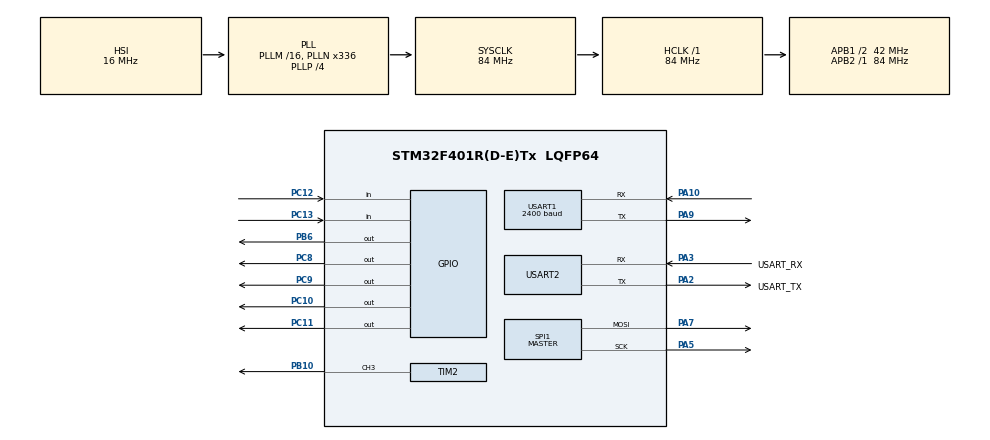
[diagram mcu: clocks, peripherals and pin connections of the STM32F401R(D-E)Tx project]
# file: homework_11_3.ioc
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Dma.Request0=SPI1_TX
Dma.SPI1_TX.0.Direction=DMA_MEMORY_TO_PERIPH
Dma.SPI1_TX.0.FIFOMode=DMA_FIFOMODE_DISABLE
Dma.SPI1_TX.0.Instance=DMA2_Stream3
Dma.SPI1_TX.0.MemDataAlignment=DMA_MDATAALIGN_BYTE
Dma.SPI1_TX.0.MemInc=DMA_MINC_ENABLE
Dma.SPI1_TX.0.Mode=DMA_NORMAL
Dma.SPI1_TX.0.PeriphDataAlignment=DMA_PDATAALIGN_BYTE
Dma.SPI1_TX.0.PeriphInc=DMA_PINC_DISABLE
Dma.SPI1_TX.0.Priority=DMA_PRIORITY_LOW
Mcu.Family=STM32F4
Mcu.Name=STM32F401R(D-E)Tx
Mcu.Package=LQFP64
NVIC.DMA2_Stream3_IRQn=true\:0\:0\:false\:false\:true\:false\:true\:true
NVIC.PriorityGroup=NVIC_PRIORITYGROUP_1
NVIC.TIM1_BRK_TIM9_IRQn=true\:0\:0\:false\:false\:true\:true\:true\:true
NVIC.TIM1_TRG_COM_TIM11_IRQn=true\:1\:0\:true\:false\:true\:true\:true\:true
NVIC.TIM1_UP_TIM10_IRQn=true\:0\:0\:true\:false\:true\:true\:true\:true
NVIC.USART1_IRQn=true\:0\:0\:false\:false\:true\:true\:true\:true
PA10.Mode=Asynchronous
PA10.Signal=USART1_RX
PA13.GPIO_Label=TMS
PA13.Mode=Serial_Wire
PA13.Signal=SYS_JTMS-SWDIO
PA14.GPIO_Label=TCK
PA14.Mode=Serial_Wire
PA14.Signal=SYS_JTCK-SWCLK
PA2.GPIO_Label=USART_TX
PA2.GPIO_Mode=GPIO_MODE_AF_PP
PA2.GPIO_PuPd=GPIO_NOPULL
PA2.GPIO_Speed=GPIO_SPEED_FREQ_LOW
PA2.Mode=Asynchronous
PA2.Signal=USART2_TX
PA3.GPIO_Label=USART_RX
PA3.GPIO_Mode=GPIO_MODE_AF_PP
PA3.GPIO_PuPd=GPIO_NOPULL
PA3.GPIO_Speed=GPIO_SPEED_FREQ_LOW
PA3.Mode=Asynchronous
PA3.Signal=USART2_RX
PA5.Mode=TX_Only_Simplex_Unidirect_Master
PA5.Signal=SPI1_SCK
PA7.Mode=TX_Only_Simplex_Unidirect_Master
PA7.Signal=SPI1_MOSI
PA9.Mode=Asynchronous
PA9.Signal=USART1_TX
PB10.Signal=S_TIM2_CH3
PB3.GPIO_Label=SWO
PB3.Signal=SYS_JTDO-SWO
PB6.Signal=GPIO_Output
PC10.Signal=GPIO_Output
PC11.Signal=GPIO_Output
PC12.Signal=GPIO_Input
PC13-ANTI_TAMP.Signal=GPIO_Input
PC14-OSC32_IN.Mode=LSE-External-Oscillator
PC14-OSC32_IN.Signal=RCC_OSC32_IN
PC15-OSC32_OUT.Mode=LSE-External-Oscillator
PC15-OSC32_OUT.Signal=RCC_OSC32_OUT
PC8.Signal=GPIO_Output
PC9.Signal=GPIO_Output
PH0\ -\ OSC_IN.Mode=HSE-External-Clock-Source
PH0\ -\ OSC_IN.Signal=RCC_OSC_IN
PH1\ -\ OSC_OUT.Mode=HSE-External-Clock-Source
PH1\ -\ OSC_OUT.Signal=RCC_OSC_OUT
ProjectManager.HeapSize=0x200
ProjectManager.StackSize=0x400
ProjectManager.TargetToolchain=STM32CubeIDE
RCC.48MHZClocksFreq_Value=48000000
RCC.AHBFreq_Value=84000000
RCC.APB1CLKDivider=RCC_HCLK_DIV2
RCC.APB1Freq_Value=42000000
RCC.APB1TimFreq_Value=84000000
RCC.APB2Freq_Value=84000000
RCC.APB2TimFreq_Value=84000000
RCC.CortexFreq_Value=84000000
RCC.HCLKFreq_Value=84000000
RCC.HSE_VALUE=8000000
RCC.HSI_VALUE=16000000
RCC.PLLN=336
RCC.PLLP=RCC_PLLP_DIV4
RCC.PLLQ=7
RCC.SYSCLKFreq_VALUE=84000000
RCC.SYSCLKSource=RCC_SYSCLKSOURCE_PLLCLK
RCC.VCOOutputFreq_Value=336000000
SH.S_TIM2_CH3.0=TIM2_CH3,PWM Generation3 CH3
SPI1.BaudRatePrescaler=SPI_BAUDRATEPRESCALER_4
SPI1.Direction=SPI_DIRECTION_2LINES
SPI1.Mode=SPI_MODE_MASTER
SPI1.VirtualType=VM_MASTER
TIM10.Period=35000-1
TIM11.Period=42000-1
TIM11.Prescaler=100-1
TIM2.Channel-PWM\ Generation3\ CH3=TIM_CHANNEL_3
TIM2.Period=2210-1
TIM2.Pulse-PWM\ Generation3\ CH3=1105-1
TIM9.Period=84-1
TIM9.Prescaler=4000-1
USART1.BaudRate=2400
USART1.Mode=MODE_RX
USART1.VirtualMode=VM_ASYNC
USART2.VirtualMode=VM_ASYNC
VP_TIM10_VS_ClockSourceINT.Mode=Enable_Timer
VP_TIM11_VS_ClockSourceINT.Mode=Enable_Timer
VP_TIM9_VS_ClockSourceINT.Mode=Internal
board=NUCLEO-F401RE

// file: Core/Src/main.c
/* USER CODE BEGIN Header */
/**
  ******************************************************************************
  * @file           : main.c
  * @brief          : Main program body
  ******************************************************************************
  * @attention
  *
  * Copyright (c) 2022 STMicroelectronics.
  * All rights reserved.
  *
  * This software is licensed under terms that can be found in the LICENSE file
  * in the root directory of this software component.
  * If no LICENSE file comes with this software, it is provided AS-IS.
  *
  ******************************************************************************
  */
/* USER CODE END Header */
#include "main.h"

/* USER CODE BEGIN PTD */
typedef enum {true, false} bool;
/* USER CODE END PTD */

SPI_HandleTypeDef hspi1;
DMA_HandleTypeDef hdma_spi1_tx;

TIM_HandleTypeDef htim2;
TIM_HandleTypeDef htim9;
TIM_HandleTypeDef htim10;
TIM_HandleTypeDef htim11;

UART_HandleTypeDef huart1;
UART_HandleTypeDef huart2;

/* USER CODE BEGIN PV */

//----------------------BUTTON-MATRIX-RELATED VARIABLES-----------------------//
bool STARTUP_OVERFLOW_TIM11 = true;
uint16_t KEYB_R[4] = {GPIO_PIN_12, GPIO_PIN_13, GPIO_PIN_2, GPIO_PIN_3};
uint16_t KEYB_C[4] = {GPIO_PIN_8, GPIO_PIN_9, GPIO_PIN_10, GPIO_PIN_11};

int j = 0;                            //moving column index for buttons scan

int START_COUNT[4][4]={
  {0, 0, 0, 0},
  {0, 0, 0, 0},
  {0, 0, 0, 0},
  {0, 0, 0, 0}
};

int ALREADY_PRINTED[4][4]={
  {0, 0, 0, 0},
  {0, 0, 0, 0},
  {0, 0, 0, 0},
  {0, 0, 0, 0}
};

int MILLIS_OF_PRESS[4][4]={
  {0, 0, 0, 0},
  {0, 0, 0, 0},
  {0, 0, 0, 0},
  {0, 0, 0, 0}
};

char CHAR_MATRIX[4][4]={
  {'0', '1', '2', '3'},
  {'4', '5', '6', '7'},
  {'8', '9', 'A', 'B'},
  {'C', 'D', 'E', 'F'}
};
//----------------------------------------------------------------------------//

//------------------------LED-MATRIX-RELATED VARIABLES------------------------//
bool STARTUP_OVERFLOW_TIM9 = true;

// Output pin for the SS
#define RCLK_PIN GPIOB, GPIO_PIN_6
// Data, which should be received
char RX_data = 0;
// Storing the data
char command = 0;
// A flag to show if we have received data
uint8_t RX_flag = 0;
// Index, showing which coloumn in the LED to light up
uint8_t index = 0;
// Making sure that the character can be lighten up by the index
uint8_t matrix[5][2] = {{0, 16}, {0, 8}, {0, 4}, {0, 2}, {0, 1}};

// Every possible characters, we want to ligth up with the corresponding data we receive
uint8_t matrix_0[5][2] = {{62, 16}, {113, 8}, {73, 4}, {71, 2}, {62, 1}};
uint8_t matrix_1[5][2] = {{33, 16}, {65, 8}, {127, 4}, {1, 2}, {1, 1}};
uint8_t matrix_2[5][2] = {{35, 16}, {69, 8}, {73, 4}, {81, 2}, {33, 1}};
uint8_t matrix_3[5][2] = {{73, 16}, {73, 8}, {73, 4}, {73, 2}, {54, 1}};
uint8_t matrix_4[5][2] = {{120, 16}, {8, 8}, {8, 4}, {127, 2}, {8, 1}};
uint8_t matrix_5[5][2] = {{121, 16}, {73, 8}, {73, 4}, {73, 2}, {70, 1}};
uint8_t matrix_6[5][2] = {{62, 16}, {73, 8}, {73, 4}, {73, 2}, {70, 1}};
uint8_t matrix_7[5][2] = {{64, 16}, {64, 8}, {67, 4}, {76, 2}, {112, 1}};
uint8_t matrix_8[5][2] = {{54, 16}, {73, 8}, {73, 4}, {73, 2}, {54, 1}};
uint8_t matrix_9[5][2] = {{48, 16}, {72, 8}, {72, 4}, {72, 2}, {127, 1}};
uint8_t matrix_A[5][2] = {{31, 16}, {36, 8}, {68, 4}, {36, 2}, {31, 1}};
uint8_t matrix_B[5][2] = {{127, 16}, {73, 8}, {73, 4}, {73, 2}, {54, 1}};
uint8_t matrix_C[5][2] = {{62, 16}, {65, 8}, {65, 4}, {65, 2}, {34, 1}};
uint8_t matrix_D[5][2] = {{127, 16}, {65, 8}, {65, 4}, {65, 2}, {62, 1}};
uint8_t matrix_E[5][2] = {{127, 16}, {73, 8}, {73, 4}, {73, 2}, {65, 1}};
uint8_t matrix_F[5][2] = {{127, 16}, {72, 8}, {72, 4}, {72, 2}, {64, 1}};

//----------------------------------------------------------------------------//

//-----------------------INFRARED-TX-RELATED VARIABLES------------------------//
bool STARTUP_OVERFLOW_TIM10 = true;
bool INFRARED_BUSY = false;

int B = 0;                            //infrared UART byte index of bit-to-transmit

int complete_byte[9];                 //containing byte to infrared-transmit + stop bit
//----------------------------------------------------------------------------//

//-----------------------INFRARED-RX-RELATED VARIABLES------------------------//
uint8_t IR_byte;                      //infrared received byte
//----------------------------------------------------------------------------//

/* USER CODE END PV */

void SystemClock_Config(void);
static void MX_GPIO_Init(void);
static void MX_DMA_Init(void);
static void MX_USART2_UART_Init(void);
static void MX_TIM2_Init(void);
static void MX_TIM10_Init(void);
static void MX_TIM11_Init(void);
static void MX_USART1_UART_Init(void);
static void MX_SPI1_Init(void);
static void MX_TIM9_Init(void);

/* USER CODE BEGIN 0 */
void HAL_TIM_PeriodElapsedCallback(TIM_HandleTypeDef* calling_timer){
  if(calling_timer==&htim11){       //timer11 (for button matrix scan) set to trigger every 50ms
    timer11_custom_callback();
  }
  if(calling_timer==&htim10){       //timer10 (for TX baudrate) set to trigger every (1/2400)s
    timer10_custom_callback();
  }
  if(calling_timer==&htim9){        //timer9 (for LED matrix lightning) set to trigger every 4ms
    timer9_custom_callback();
  }
}

//-----------------------BUTTON-MATRIX-RELATED FUNCTIONS----------------------//
void timer11_custom_callback(){
  if(STARTUP_OVERFLOW_TIM11==true){
    STARTUP_OVERFLOW_TIM11=false;
  }
  else{
    activate_next_column();           //NOTE: we need to set the Systick interrupt to a higher priority level
    HAL_Delay(10);                    //in order to execute a delay inside another callback (nested interrupt,
                                      //lower preemption --> higher priority). See ioc configuration for details
    //Updating all press times
    for(int Y=0; Y<4; Y++){
      for(int K=0; K<4; K++){
        if(START_COUNT[Y][K]==1){
          MILLIS_OF_PRESS[Y][K]=MILLIS_OF_PRESS[Y][K]+50;
        }
      }
    }

    //Scanning through all rows
    for(int i=0; i<4; i++){
      if(HAL_GPIO_ReadPin(GPIOC, KEYB_R[i])==GPIO_PIN_RESET){
        if(START_COUNT[i][j]==0){
          START_COUNT[i][j]=1;
        }
      }
      else{
        START_COUNT[i][j]=0;
        ALREADY_PRINTED[i][j]=0;
        MILLIS_OF_PRESS[i][j]=0;
      }
    }

    //Moving to the next column
    j++;
    if(j==4){
      j=0;
    }
  }
}

void activate_next_column(){
  //Turn off all columns...
  for(int k=0; k<4; k++){
    HAL_GPIO_WritePin(GPIOC, KEYB_C[k], GPIO_PIN_RESET);
  }
  //...and turn on only the next column
  HAL_GPIO_WritePin(GPIOC, KEYB_C[j], GPIO_PIN_SET);      //remember that "j" is a moving index (and global variable)
}
//----------------------------------------------------------------------------//

//-----------------------INFRARED-TX-RELATED FUNCTIONS------------------------//
void timer10_custom_callback(){
  if(STARTUP_OVERFLOW_TIM10==true){
    STARTUP_OVERFLOW_TIM10=false;
  }
  else{

    if(B<=8){
      if(complete_byte[B]==0){
        HAL_TIM_PWM_Start(&htim2, TIM_CHANNEL_3);
      }
      else if(complete_byte[B]==1){
        HAL_TIM_PWM_Stop(&htim2, TIM_CHANNEL_3);
      }
      B++;
    }

    else{
      B=0;
      HAL_TIM_Base_Stop_IT(&htim10);
      //__HAL_TIM_SET_COUNTER(&htim10, 0);    //for safety, if necessary
      INFRARED_BUSY=false;
    }

  }
}

void infrared_UART_TX(uint8_t byte_to_send){
  if(INFRARED_BUSY==false){
    INFRARED_BUSY=true;

    for(int h=0; h<8; h++){                                           //converting uint8_t into array of single bits
      complete_byte[7-h]=((byte_to_send)&(0b10000000>>h))>>(7-h);     //NOTE: we must invert the bit sequence
    }                                                                 //because it will be received inverted again

    complete_byte[8]=1;                                               //appending stop bit
    HAL_TIM_PWM_Start(&htim2, TIM_CHANNEL_3);                         //transmitting start bit
    HAL_TIM_Base_Start_IT(&htim10);
  }
  else{
    //do nothing, ignore request
  }
}
//----------------------------------------------------------------------------//

//-----------------------INFRARED-RX-RELATED FUNCTIONS------------------------//
void HAL_UART_RxCpltCallback (UART_HandleTypeDef *huart) {
	// We receive the data, that the other group have transmitted
	HAL_UART_Receive_IT(&huart1, &RX_data, sizeof(RX_data));
	command = RX_data;
	// We acknowledge that we have received a byte form UART
	RX_flag = 1;
}

void HAL_SPI_TxCpltCallback(SPI_HandleTypeDef* calling_SPI){
	if(calling_SPI == &hspi1){
		// Setting the SS pin
		HAL_GPIO_WritePin(GPIOB, GPIO_PIN_6, GPIO_PIN_SET);
		// Increment the index
		index++;
		// Resetting index for index higher than 4
		if(index > 4){
			index = 0;
		}
		// Resetting the SS pin
		HAL_GPIO_WritePin(GPIOB, GPIO_PIN_6, GPIO_PIN_RESET);
	}
}
//----------------------------------------------------------------------------//

//-----------------------LED-MATRIX-RELATED FUNCTIONS-------------------------//
void timer9_custom_callback(){
  if(STARTUP_OVERFLOW_TIM9==true){
    STARTUP_OVERFLOW_TIM9=false;
  }
  else{
	  // Transmit the letter and column, which should be lighten up every 4 ms
	  HAL_SPI_Transmit_DMA(&hspi1, matrix[index], 2);
  }
}
//----------------------------------------------------------------------------//

/* USER CODE END 0 */

int main(void)
{

  /* MCU Configuration--------------------------------------------------------*/

  /* Reset of all peripherals, Initializes the Flash interface and the Systick. */
  HAL_Init();

  /* Configure the system clock */
  SystemClock_Config();

  /* Initialize all configured peripherals */
  MX_GPIO_Init();
  MX_DMA_Init();
  MX_USART2_UART_Init();
  MX_TIM2_Init();
  MX_TIM10_Init();
  MX_TIM11_Init();
  MX_USART1_UART_Init();
  MX_SPI1_Init();
  MX_TIM9_Init();
  /* USER CODE BEGIN 2 */
  HAL_TIM_Base_Start_IT(&htim11);
  HAL_TIM_Base_Start_IT(&htim9);
  HAL_UART_Receive_IT(&huart1, &RX_data, sizeof(RX_data));
  /* USER CODE END 2 */

  /* Infinite loop */
  /* USER CODE BEGIN WHILE */
  while (1)
  {
    for(int I=0; I<4; I++){
      for(int J=0; J<4; J++){
        if(MILLIS_OF_PRESS[I][J]>=200){                       //pressings shorter than 200ms will be ignored
          if(ALREADY_PRINTED[I][J]==0){
            infrared_UART_TX((uint8_t)(CHAR_MATRIX[I][J]));   //perform transmission
            ALREADY_PRINTED[I][J]=1;
          }
          else{
            //do nothing
          }
        }
      }
    }
    /* USER CODE END WHILE */

    /* USER CODE BEGIN 3 */
    if(RX_flag == 1) {
    		  // The matrix, which should be send to the LED matrix is chosen with the corresponding character
    		  switch(command) {
    		  	  case '0':
    		  		  memcpy(matrix, matrix_0, sizeof(matrix));
    		  		  break;
    		  	  case '1':
    		  		  memcpy(matrix, matrix_1, sizeof(matrix));
    		  		  break;
    		  	  case '2':
    		  		  memcpy(matrix, matrix_2, sizeof(matrix));
    		  		  break;
    		  	  case '3':
    		  		  memcpy(matrix, matrix_3, sizeof(matrix));
    		  		  break;
    		  	  case '4':
    		  		  memcpy(matrix, matrix_4, sizeof(matrix));
    		  		  break;
    		  	  case '5':
    		  		  memcpy(matrix, matrix_5, sizeof(matrix));
    		  		  break;
    		  	  case '6':
    		  		  memcpy(matrix, matrix_6, sizeof(matrix));
    		  		  break;
    		  	  case '7':
    		  		  memcpy(matrix, matrix_7, sizeof(matrix));
    		  		  break;
    		  	  case '8':
    		  		  memcpy(matrix, matrix_8, sizeof(matrix));
    		  		  break;
    		  	  case '9':
    		  		  memcpy(matrix, matrix_9, sizeof(matrix));
    		  		  break;
    		  	  case 'A':
    		  		  memcpy(matrix, matrix_A, sizeof(matrix));
    		  		  break;
    		  	  case 'B':
    		  		  memcpy(matrix, matrix_B, sizeof(matrix));
    		  		  break;
    		  	  case 'C':
    		  		  memcpy(matrix, matrix_C, sizeof(matrix));
    		  		  break;
    		  	  case 'D':
    		  		  memcpy(matrix, matrix_D, sizeof(matrix));
    		  		  break;
    		  	  case 'E':
    		  		  memcpy(matrix, matrix_E, sizeof(matrix));
    		  		  break;
    		  	  case 'F':
    		  		  memcpy(matrix, matrix_F, sizeof(matrix));
    		  		  break;
    		  }
    		  // We reset the ackowledgement of the data
    		  RX_flag = 0;
    	  }
  }
  /* USER CODE END 3 */
}

void SystemClock_Config(void)
{
  RCC_OscInitTypeDef RCC_OscInitStruct = {0};
  RCC_ClkInitTypeDef RCC_ClkInitStruct = {0};

  /** Configure the main internal regulator output voltage
  */
  __HAL_RCC_PWR_CLK_ENABLE();
  __HAL_PWR_VOLTAGESCALING_CONFIG(PWR_REGULATOR_VOLTAGE_SCALE2);

  /** Initializes the RCC Oscillators according to the specified parameters
  * in the RCC_OscInitTypeDef structure.
  */
  RCC_OscInitStruct.OscillatorType = RCC_OSCILLATORTYPE_HSI;
  RCC_OscInitStruct.HSIState = RCC_HSI_ON;
  RCC_OscInitStruct.HSICalibrationValue = RCC_HSICALIBRATION_DEFAULT;
  RCC_OscInitStruct.PLL.PLLState = RCC_PLL_ON;
  RCC_OscInitStruct.PLL.PLLSource = RCC_PLLSOURCE_HSI;
  RCC_OscInitStruct.PLL.PLLM = 16;
  RCC_OscInitStruct.PLL.PLLN = 336;
  RCC_OscInitStruct.PLL.PLLP = RCC_PLLP_DIV4;
  RCC_OscInitStruct.PLL.PLLQ = 7;
  if (HAL_RCC_OscConfig(&RCC_OscInitStruct) != HAL_OK)
  {
    Error_Handler();
  }

  /** Initializes the CPU, AHB and APB buses clocks
  */
  RCC_ClkInitStruct.ClockType = RCC_CLOCKTYPE_HCLK|RCC_CLOCKTYPE_SYSCLK
                              |RCC_CLOCKTYPE_PCLK1|RCC_CLOCKTYPE_PCLK2;
  RCC_ClkInitStruct.SYSCLKSource = RCC_SYSCLKSOURCE_PLLCLK;
  RCC_ClkInitStruct.AHBCLKDivider = RCC_SYSCLK_DIV1;
  RCC_ClkInitStruct.APB1CLKDivider = RCC_HCLK_DIV2;
  RCC_ClkInitStruct.APB2CLKDivider = RCC_HCLK_DIV1;

  if (HAL_RCC_ClockConfig(&RCC_ClkInitStruct, FLASH_LATENCY_2) != HAL_OK)
  {
    Error_Handler();
  }
}

static void MX_SPI1_Init(void)
{

  /* SPI1 parameter configuration*/
  hspi1.Instance = SPI1;
  hspi1.Init.Mode = SPI_MODE_MASTER;
  hspi1.Init.Direction = SPI_DIRECTION_2LINES;
  hspi1.Init.DataSize = SPI_DATASIZE_8BIT;
  hspi1.Init.CLKPolarity = SPI_POLARITY_LOW;
  hspi1.Init.CLKPhase = SPI_PHASE_1EDGE;
  hspi1.Init.NSS = SPI_NSS_SOFT;
  hspi1.Init.BaudRatePrescaler = SPI_BAUDRATEPRESCALER_4;
  hspi1.Init.FirstBit = SPI_FIRSTBIT_MSB;
  hspi1.Init.TIMode = SPI_TIMODE_DISABLE;
  hspi1.Init.CRCCalculation = SPI_CRCCALCULATION_DISABLE;
  hspi1.Init.CRCPolynomial = 10;
  if (HAL_SPI_Init(&hspi1) != HAL_OK)
  {
    Error_Handler();
  }

}

static void MX_TIM2_Init(void)
{

  TIM_MasterConfigTypeDef sMasterConfig = {0};
  TIM_OC_InitTypeDef sConfigOC = {0};

  htim2.Instance = TIM2;
  htim2.Init.Prescaler = 0;
  htim2.Init.CounterMode = TIM_COUNTERMODE_UP;
  htim2.Init.Period = 2210-1;
  htim2.Init.ClockDivision = TIM_CLOCKDIVISION_DIV1;
  htim2.Init.AutoReloadPreload = TIM_AUTORELOAD_PRELOAD_DISABLE;
  if (HAL_TIM_PWM_Init(&htim2) != HAL_OK)
  {
    Error_Handler();
  }
  sMasterConfig.MasterOutputTrigger = TIM_TRGO_RESET;
  sMasterConfig.MasterSlaveMode = TIM_MASTERSLAVEMODE_DISABLE;
  if (HAL_TIMEx_MasterConfigSynchronization(&htim2, &sMasterConfig) != HAL_OK)
  {
    Error_Handler();
  }
  sConfigOC.OCMode = TIM_OCMODE_PWM1;
  sConfigOC.Pulse = 1105-1;
  sConfigOC.OCPolarity = TIM_OCPOLARITY_HIGH;
  sConfigOC.OCFastMode = TIM_OCFAST_DISABLE;
  if (HAL_TIM_PWM_ConfigChannel(&htim2, &sConfigOC, TIM_CHANNEL_3) != HAL_OK)
  {
    Error_Handler();
  }
  HAL_TIM_MspPostInit(&htim2);

}

static void MX_TIM9_Init(void)
{

  TIM_ClockConfigTypeDef sClockSourceConfig = {0};

  htim9.Instance = TIM9;
  htim9.Init.Prescaler = 4000-1;
  htim9.Init.CounterMode = TIM_COUNTERMODE_UP;
  htim9.Init.Period = 84-1;
  htim9.Init.ClockDivision = TIM_CLOCKDIVISION_DIV1;
  htim9.Init.AutoReloadPreload = TIM_AUTORELOAD_PRELOAD_DISABLE;
  if (HAL_TIM_Base_Init(&htim9) != HAL_OK)
  {
    Error_Handler();
  }
  sClockSourceConfig.ClockSource = TIM_CLOCKSOURCE_INTERNAL;
  if (HAL_TIM_ConfigClockSource(&htim9, &sClockSourceConfig) != HAL_OK)
  {
    Error_Handler();
  }

}

static void MX_TIM10_Init(void)
{

  htim10.Instance = TIM10;
  htim10.Init.Prescaler = 0;
  htim10.Init.CounterMode = TIM_COUNTERMODE_UP;
  htim10.Init.Period = 35000-1;
  htim10.Init.ClockDivision = TIM_CLOCKDIVISION_DIV1;
  htim10.Init.AutoReloadPreload = TIM_AUTORELOAD_PRELOAD_DISABLE;
  if (HAL_TIM_Base_Init(&htim10) != HAL_OK)
  {
    Error_Handler();
  }

}

static void MX_TIM11_Init(void)
{

  htim11.Instance = TIM11;
  htim11.Init.Prescaler = 100-1;
  htim11.Init.CounterMode = TIM_COUNTERMODE_UP;
  htim11.Init.Period = 42000-1;
  htim11.Init.ClockDivision = TIM_CLOCKDIVISION_DIV1;
  htim11.Init.AutoReloadPreload = TIM_AUTORELOAD_PRELOAD_DISABLE;
  if (HAL_TIM_Base_Init(&htim11) != HAL_OK)
  {
    Error_Handler();
  }

}

static void MX_USART1_UART_Init(void)
{

  huart1.Instance = USART1;
  huart1.Init.BaudRate = 2400;
  huart1.Init.WordLength = UART_WORDLENGTH_8B;
  huart1.Init.StopBits = UART_STOPBITS_1;
  huart1.Init.Parity = UART_PARITY_NONE;
  huart1.Init.Mode = UART_MODE_RX;
  huart1.Init.HwFlowCtl = UART_HWCONTROL_NONE;
  huart1.Init.OverSampling = UART_OVERSAMPLING_16;
  if (HAL_UART_Init(&huart1) != HAL_OK)
  {
    Error_Handler();
  }

}

static void MX_USART2_UART_Init(void)
{

  huart2.Instance = USART2;
  huart2.Init.BaudRate = 115200;
  huart2.Init.WordLength = UART_WORDLENGTH_8B;
  huart2.Init.StopBits = UART_STOPBITS_1;
  huart2.Init.Parity = UART_PARITY_NONE;
  huart2.Init.Mode = UART_MODE_TX_RX;
  huart2.Init.HwFlowCtl = UART_HWCONTROL_NONE;
  huart2.Init.OverSampling = UART_OVERSAMPLING_16;
  if (HAL_UART_Init(&huart2) != HAL_OK)
  {
    Error_Handler();
  }

}

static void MX_DMA_Init(void)
{

  /* DMA controller clock enable */
  __HAL_RCC_DMA2_CLK_ENABLE();

  /* DMA interrupt init */
  /* DMA2_Stream3_IRQn interrupt configuration */
  HAL_NVIC_SetPriority(DMA2_Stream3_IRQn, 0, 0);
  HAL_NVIC_EnableIRQ(DMA2_Stream3_IRQn);

}

static void MX_GPIO_Init(void)
{
  GPIO_InitTypeDef GPIO_InitStruct = {0};

  /* GPIO Ports Clock Enable */
  __HAL_RCC_GPIOC_CLK_ENABLE();
  __HAL_RCC_GPIOH_CLK_ENABLE();
  __HAL_RCC_GPIOA_CLK_ENABLE();
  __HAL_RCC_GPIOB_CLK_ENABLE();

  /*Configure GPIO pin Output Level */
  HAL_GPIO_WritePin(GPIOC, GPIO_PIN_8|GPIO_PIN_9|GPIO_PIN_10|GPIO_PIN_11, GPIO_PIN_RESET);

  /*Configure GPIO pin Output Level */
  HAL_GPIO_WritePin(GPIOB, GPIO_PIN_6, GPIO_PIN_RESET);

  /*Configure GPIO pins : PC13 PC12 */
  GPIO_InitStruct.Pin = GPIO_PIN_13|GPIO_PIN_12;
  GPIO_InitStruct.Mode = GPIO_MODE_INPUT;
  GPIO_InitStruct.Pull = GPIO_NOPULL;
  HAL_GPIO_Init(GPIOC, &GPIO_InitStruct);

  /*Configure GPIO pins : PC8 PC9 PC10 PC11 */
  GPIO_InitStruct.Pin = GPIO_PIN_8|GPIO_PIN_9|GPIO_PIN_10|GPIO_PIN_11;
  GPIO_InitStruct.Mode = GPIO_MODE_OUTPUT_PP;
  GPIO_InitStruct.Pull = GPIO_NOPULL;
  GPIO_InitStruct.Speed = GPIO_SPEED_FREQ_LOW;
  HAL_GPIO_Init(GPIOC, &GPIO_InitStruct);

  /*Configure GPIO pin : PB6 */
  GPIO_InitStruct.Pin = GPIO_PIN_6;
  GPIO_InitStruct.Mode = GPIO_MODE_OUTPUT_PP;
  GPIO_InitStruct.Pull = GPIO_NOPULL;
  GPIO_InitStruct.Speed = GPIO_SPEED_FREQ_LOW;
  HAL_GPIO_Init(GPIOB, &GPIO_InitStruct);

}

void Error_Handler(void)
{
  __disable_irq();
  while (1)
  {
  }
}
